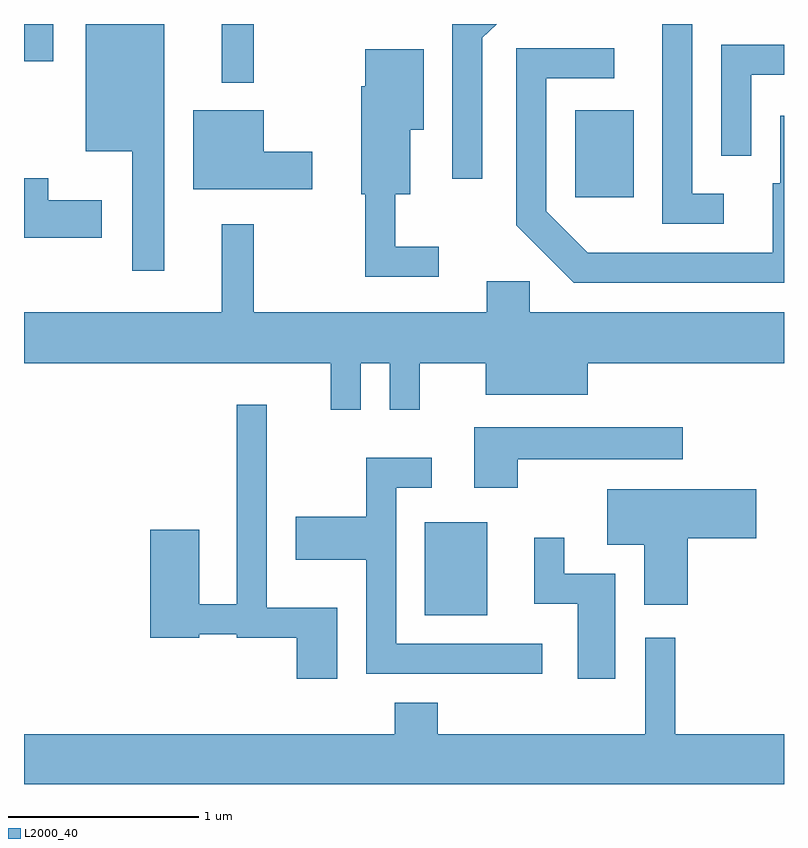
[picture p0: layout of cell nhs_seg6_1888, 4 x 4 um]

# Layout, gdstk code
import gdstk
lib = gdstk.Library(unit=1e-6, precision=1e-09)
def R(c, l, rs):  # rectangles x0, y0, x1, y1
    for r in rs: c.add(gdstk.rectangle(r[:2], r[2:], *l))
def P(c, l, *ps):  # polygons
    for p in ps: c.add(gdstk.Polygon(p, *l))
L2000_40 = (2000, 40)

nhs_seg6_1888 = lib.new_cell('nhs_seg6_1888')
R(nhs_seg6_1888, L2000_40, [(243.721,1653.051,244.049,1653.539), (244.511,1655.251,244.819,1655.709), (242.651,1655.853,242.819,1656.162), (241.611,1655.966,241.764,1656.162)])
P(nhs_seg6_1888, L2000_40, [(245.293,1655.269),(245.129,1655.269),(245.129,1656.162),(244.971,1656.162),(244.971,1655.111),(245.293,1655.111)],
  [(244.024,1656.089),(244.098,1656.162),(243.866,1656.162),(243.866,1655.348),(244.024,1655.348)],
  [(242.349,1656.162),(241.936,1656.162),(241.936,1655.491),(242.181,1655.491),(242.181,1654.863),(242.349,1654.863)],
  [(245.439,1655.896),(245.611,1655.896),(245.611,1656.054),(245.281,1656.054),(245.281,1655.468),(245.439,1655.468)],
  [(245.611,1655.679),(245.591,1655.679),(245.591,1655.324),(245.551,1655.324),(245.551,1654.959),(244.577,1654.959),(244.359,1655.177),(244.359,1655.876),(244.718,1655.876),(244.718,1656.034),(244.201,1656.034),(244.201,1655.104),(244.504,1654.801),(245.611,1654.801)],
  [(243.793,1654.989),(243.564,1654.989),(243.564,1655.266),(243.644,1655.266),(243.644,1655.606),(243.714,1655.606),(243.714,1656.029),(243.406,1656.029),(243.406,1655.834),(243.386,1655.834),(243.386,1655.266),(243.406,1655.266),(243.406,1654.831),(243.793,1654.831)],
  [(243.129,1655.489),(242.874,1655.489),(242.874,1655.709),(242.501,1655.709),(242.501,1655.291),(243.129,1655.291)],
  [(242.019,1655.234),(241.739,1655.234),(241.739,1655.349),(241.611,1655.349),(241.611,1655.036),(242.019,1655.036)],
  [(243.384,1654.376),(243.536,1654.376),(243.536,1654.133),(243.694,1654.133),(243.694,1654.376),(244.041,1654.376),(244.041,1654.211),(244.579,1654.211),(244.579,1654.376),(245.611,1654.376),(245.611,1654.644),(244.274,1654.644),(244.274,1654.809),(244.046,1654.809),(244.046,1654.644),(242.819,1654.644),(242.819,1655.108),(242.651,1655.108),(242.651,1654.644),(241.611,1654.644),(241.611,1654.376),(243.226,1654.376),(243.226,1654.133),(243.384,1654.133)],
  [(243.259,1653.089),(242.889,1653.089),(242.889,1654.158),(242.731,1654.158),(242.731,1653.109),(242.534,1653.109),(242.534,1653.499),(242.276,1653.499),(242.276,1652.931),(242.534,1652.931),(242.534,1652.951),(242.731,1652.951),(242.731,1652.931),(243.046,1652.931),(243.046,1652.716),(243.259,1652.716)],
  [(244.209,1653.871),(245.078,1653.871),(245.078,1654.039),(243.981,1654.039),(243.981,1653.721),(244.209,1653.721)],
  [(244.338,1652.899),(243.569,1652.899),(243.569,1653.721),(243.758,1653.721),(243.758,1653.879),(243.411,1653.879),(243.411,1653.569),(243.041,1653.569),(243.041,1653.341),(243.411,1653.341),(243.411,1652.741),(244.338,1652.741)],
  [(245.104,1653.456),(245.464,1653.456),(245.464,1653.714),(244.681,1653.714),(244.681,1653.421),(244.876,1653.421),(244.876,1653.106),(245.104,1653.106)],
  [(244.724,1653.269),(244.454,1653.269),(244.454,1653.458),(244.296,1653.458),(244.296,1653.111),(244.526,1653.111),(244.526,1652.716),(244.724,1652.716)],
  [(245.611,1652.424),(245.039,1652.424),(245.039,1652.933),(244.881,1652.933),(244.881,1652.424),(243.789,1652.424),(243.789,1652.589),(243.561,1652.589),(243.561,1652.424),(241.611,1652.424),(241.611,1652.162),(245.611,1652.162)])

lib.write_gds('nhs_seg6_1888.gds')
